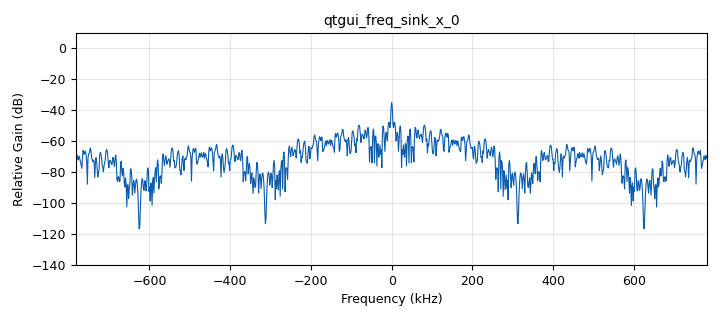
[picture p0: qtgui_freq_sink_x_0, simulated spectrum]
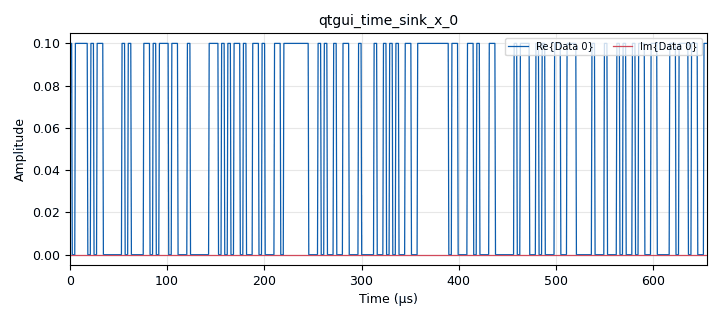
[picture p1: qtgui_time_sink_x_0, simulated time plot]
options:
  parameters:
    author: Jorge y David
    copyright: UIS
    generate_options: qt_gui
    id: ModulacionesASK
    output_language: python
    title: Modulaciones ASK
  states: {}

blocks:
- name: Ac
  id: variable_qtgui_range
  parameters:
    label: Amplitud portadora
    start: '0'
    step: '1e-1'
    stop: '2'
    value: '0.1'
  states: {}
- name: GTX
  id: variable_qtgui_range
  parameters:
    label: Ganacia transmisor
    start: '0'
    step: '1'
    stop: '30'
    value: '0'
  states: {}
- name: fc
  id: variable_qtgui_range
  parameters:
    label: Frecuencia portadora
    start: 50e6
    step: 1e6
    stop: 2.2e9
    value: 50e6
  states: {}
- name: ka
  id: variable_qtgui_range
  parameters:
    label: Coeficiente Ka
    start: '0'
    step: '100e-3'
    stop: '2'
    value: '1'
  states: {}
- name: samp_rate
  id: variable
  parameters:
    value: '1562500'
  states: {}
- name: analog_random_source_x_0
  id: analog_random_source_x
  parameters:
    max: '2'
    min: '0'
    num_samps: '100000'
    repeat: 'True'
    type: byte
  states: {}
- name: blocks_add_const_vxx_0
  id: blocks_add_const_vxx
  parameters:
    const: '0'
    type: float
  states: {}
- name: blocks_float_to_complex_0
  id: blocks_float_to_complex
  parameters: {}
  states: {}
- name: blocks_multiply_const_vxx_0
  id: blocks_multiply_const_vxx
  parameters:
    const: ka
    type: float
  states: {}
- name: blocks_multiply_const_vxx_0_0
  id: blocks_multiply_const_vxx
  parameters:
    const: Ac
    type: complex
  states: {}
- name: blocks_null_source_0
  id: blocks_null_source
  parameters:
    type: float
  states: {}
- name: blocks_repeat_0
  id: blocks_repeat
  parameters:
    interp: '5'
    type: float
  states: {}
- name: blocks_uchar_to_float_0
  id: blocks_uchar_to_float
  parameters: {}
  states: {}
- name: qtgui_freq_sink_x_0
  id: qtgui_freq_sink_x
  parameters:
    bw: samp_rate
    fc: '0'
    fftsize: '1024'
    type: complex
  states: {}
- name: qtgui_time_sink_x_0
  id: qtgui_time_sink_x
  parameters:
    autoscale: 'True'
    size: '1024'
    srate: samp_rate
    type: complex
  states: {}
- name: uhd_usrp_sink_0
  id: uhd_usrp_sink
  parameters:
    ant0: '"TX/RX"'
    center_freq0: fc
    gain0: GTX
    samp_rate: samp_rate
    sync: pc_clock
    type: fc32
  states: {}

connections:
- [analog_random_source_x_0, '0', blocks_uchar_to_float_0, '0']
- [blocks_add_const_vxx_0, '0', blocks_float_to_complex_0, '0']
- [blocks_float_to_complex_0, '0', blocks_multiply_const_vxx_0_0, '0']
- [blocks_multiply_const_vxx_0, '0', blocks_add_const_vxx_0, '0']
- [blocks_multiply_const_vxx_0_0, '0', qtgui_freq_sink_x_0, '0']
- [blocks_multiply_const_vxx_0_0, '0', qtgui_time_sink_x_0, '0']
- [blocks_multiply_const_vxx_0_0, '0', uhd_usrp_sink_0, '0']
- [blocks_null_source_0, '0', blocks_float_to_complex_0, '1']
- [blocks_repeat_0, '0', blocks_multiply_const_vxx_0, '0']
- [blocks_uchar_to_float_0, '0', blocks_repeat_0, '0']

metadata:
  file_format: 1
